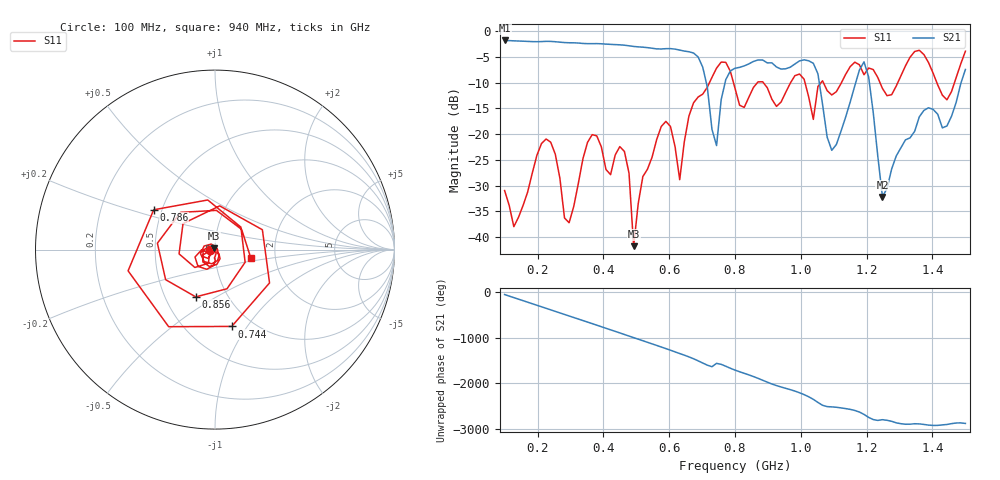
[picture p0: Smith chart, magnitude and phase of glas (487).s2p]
! NanoVNA-App
! Date: 2025-09-25 15:59:16
! Start: 100MHz Stop: 1,5GHz Points: 101
! S-Parameter data: F S11 S21 S12 S22
# Hz S RI R 50
!  Frequency  S11_Real  S11_Imag  S21_Real  S21_Imag  S12_Real  S12_Imag  S22_Real  S22_Imag
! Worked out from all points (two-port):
!   101 points, 100 MHz to 1.5 GHz, reference 50 ohm
!   highest |S21| = -1.80 dB at 100 MHz (marker M1); lowest = -32.2 dB at 1.248 GHz (marker M2)
!   |S21| within 3 dB of the highest: start of sweep to 684.3 MHz
!   lowest |S11| = -41.7 dB at 492 MHz (marker M3), VSWR 1.02, Z = 49.5 + j0.632 ohm
!   |S11| at or under -10 dB: start of sweep to 722.4 MHz; 795.4 MHz to 867.9 MHz (72.53 MHz wide, 8.72 % of centre); 886.2 MHz to 968.8 MHz (82.62 MHz wide, 8.91 % of centre) (the widest 3 of 7)
!   S12 and S22 are empty: the file has one direction only
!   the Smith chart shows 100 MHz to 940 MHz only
!   S11 on the Smith chart (normalised r, x): 100 MHz: 0.95, -0.01; 744 MHz: 0.80, -0.85; 786 MHz: 0.45, +0.24; 856 MHz: 0.71, -0.41; 940 MHz: 1.49, -0.15
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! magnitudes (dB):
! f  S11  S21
! 100 MHz  -30.9  -1.8
! 128 MHz  -37.9  -1.9
! 226 MHz  -20.9  -2.0
! 296 MHz  -37.2  -2.2
! 338 MHz  -24.7  -2.4
! 464 MHz  -23.3  -2.7
! 492 MHz  -41.7  -3.0
! 576 MHz  -18.5  -3.5
! 632 MHz  -28.8  -3.7
! 702 MHz  -12.2  -7.0
! 744 MHz  -7.2  -22.2
! 786 MHz  -7.8  -7.7
! 800 MHz  -11.1  -7.2
! 856 MHz  -10.9  -5.9
! 940 MHz  -13.8  -7.4
! 996 MHz  -8.3  -5.8
! 1.038 GHz  -17.1  -6.2
! 1.094 GHz  -12.4  -23.1
! 1.192 GHz  -8.5  -6.0
! 1.248 GHz  -11.1  -32.2
! 1.276 GHz  -12.3  -26.7
! 1.5 GHz  -3.9  -7.4
